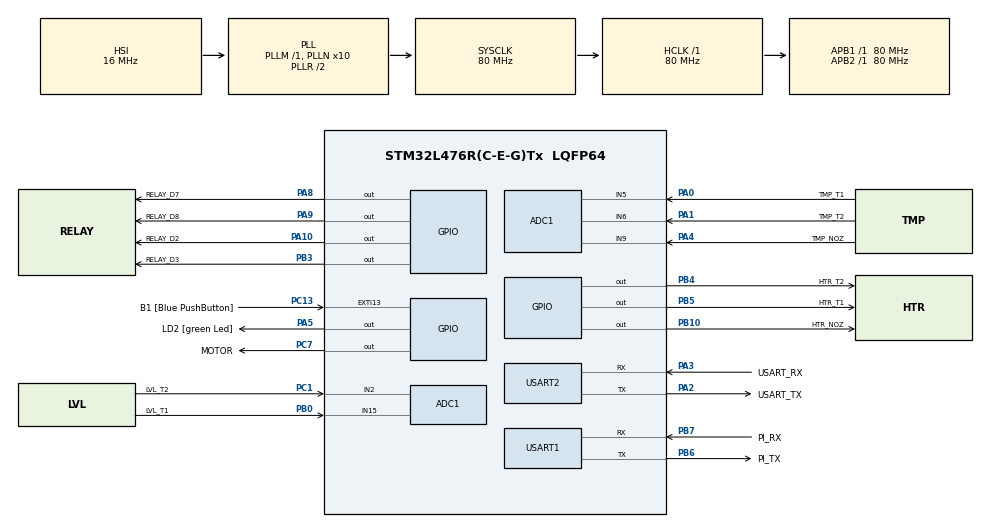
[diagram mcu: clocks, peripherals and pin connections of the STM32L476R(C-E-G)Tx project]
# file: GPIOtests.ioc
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Mcu.Family=STM32L4
Mcu.Name=STM32L476R(C-E-G)Tx
Mcu.Package=LQFP64
ADC1.Channel-0\#ChannelRegularConversion=ADC_CHANNEL_5
ADC1.Channel-1\#ChannelRegularConversion=ADC_CHANNEL_6
ADC1.Channel-2\#ChannelRegularConversion=ADC_CHANNEL_9
ADC1.Channel-3\#ChannelRegularConversion=ADC_CHANNEL_15
ADC1.Channel-4\#ChannelRegularConversion=ADC_CHANNEL_2
ADC1.ClockPrescaler=ADC_CLOCK_SYNC_PCLK_DIV4
ADC1.EOCSelection=ADC_EOC_SINGLE_CONV
ADC1.NbrOfConversion=5
ADC1.NbrOfConversionFlag=1
ADC1.OffsetNumber-0\#ChannelRegularConversion=ADC_OFFSET_NONE
ADC1.OffsetNumber-1\#ChannelRegularConversion=ADC_OFFSET_NONE
ADC1.OffsetNumber-2\#ChannelRegularConversion=ADC_OFFSET_NONE
ADC1.OffsetNumber-3\#ChannelRegularConversion=ADC_OFFSET_NONE
ADC1.OffsetNumber-4\#ChannelRegularConversion=ADC_OFFSET_NONE
ADC1.Rank-0\#ChannelRegularConversion=1
ADC1.Rank-1\#ChannelRegularConversion=2
ADC1.Rank-2\#ChannelRegularConversion=3
ADC1.Rank-3\#ChannelRegularConversion=4
ADC1.Rank-4\#ChannelRegularConversion=5
ADC1.SamplingTime-0\#ChannelRegularConversion=ADC_SAMPLETIME_640CYCLES_5
ADC1.SamplingTime-1\#ChannelRegularConversion=ADC_SAMPLETIME_640CYCLES_5
ADC1.SamplingTime-2\#ChannelRegularConversion=ADC_SAMPLETIME_640CYCLES_5
ADC1.SamplingTime-3\#ChannelRegularConversion=ADC_SAMPLETIME_640CYCLES_5
ADC1.SamplingTime-4\#ChannelRegularConversion=ADC_SAMPLETIME_640CYCLES_5
ADC1.ScanConvMode=ADC_SCAN_ENABLE
ADC1.SingleDiff-0\#ChannelRegularConversion=ADC_SINGLE_ENDED
ADC1.SingleDiff-1\#ChannelRegularConversion=ADC_SINGLE_ENDED
ADC1.SingleDiff-2\#ChannelRegularConversion=ADC_SINGLE_ENDED
ADC1.SingleDiff-3\#ChannelRegularConversion=ADC_SINGLE_ENDED
ADC1.SingleDiff-4\#ChannelRegularConversion=ADC_SINGLE_ENDED
ADC1.master=1
NVIC.PriorityGroup=NVIC_PRIORITYGROUP_4
NVIC.USART1_IRQn=true\:0\:0\:false\:false\:true\:true\:true\:true
NVIC.USART2_IRQn=true\:0\:0\:false\:false\:true\:true\:true\:true
PA13\ (JTMS-SWDIO).GPIO_Label=TMS
PA13\ (JTMS-SWDIO).Mode=Serial_Wire
PA13\ (JTMS-SWDIO).Signal=SYS_JTMS-SWDIO
PA14\ (JTCK-SWCLK).GPIO_Label=TCK
PA14\ (JTCK-SWCLK).Mode=Serial_Wire
PA14\ (JTCK-SWCLK).Signal=SYS_JTCK-SWCLK
PA2.GPIO_Label=USART_TX
PA2.GPIO_Mode=GPIO_MODE_AF_PP
PA2.GPIO_PuPd=GPIO_NOPULL
PA2.GPIO_Speed=GPIO_SPEED_FREQ_VERY_HIGH
PA2.Mode=Asynchronous
PA2.Signal=USART2_TX
PA3.GPIO_Label=USART_RX
PA3.GPIO_Mode=GPIO_MODE_AF_PP
PA3.GPIO_PuPd=GPIO_NOPULL
PA3.GPIO_Speed=GPIO_SPEED_FREQ_VERY_HIGH
PA3.Mode=Asynchronous
PA3.Signal=USART2_RX
PA8.GPIO_Label=RELAY_D7
PA8.GPIO_ModeDefaultOutputPP=GPIO_MODE_OUTPUT_PP
PA8.GPIO_PuPd=GPIO_NOPULL
PA8.GPIO_Speed=GPIO_SPEED_FREQ_LOW
PA8.Signal=GPIO_Output
PA9.GPIO_Label=RELAY_D8
PA9.GPIO_ModeDefaultOutputPP=GPIO_MODE_OUTPUT_PP
PA9.GPIO_PuPd=GPIO_NOPULL
PA9.GPIO_Speed=GPIO_SPEED_FREQ_LOW
PA9.Signal=GPIO_Output
PA0.GPIO_Label=TMP_T1
PA0.Mode=IN5-Single-Ended
PA0.Signal=ADC1_IN5
PA1.GPIO_Label=TMP_T2
PA1.Mode=IN6-Single-Ended
PA1.Signal=ADC1_IN6
PA4.GPIO_Label=TMP_NOZ
PA4.Mode=IN9-Single-Ended
PA4.Signal=ADC1_IN9
PA10.GPIO_Label=RELAY_D2
PA10.GPIO_ModeDefaultOutputPP=GPIO_MODE_OUTPUT_PP
PA10.GPIO_PuPd=GPIO_NOPULL
PA10.GPIO_Speed=GPIO_SPEED_FREQ_LOW
PA10.Signal=GPIO_Output
PB0.GPIO_Label=LVL_T1
PB0.Mode=IN15-Single-Ended
PB0.Signal=ADC1_IN15
PC1.GPIO_Label=LVL_T2
PC1.Mode=IN2-Single-Ended
PC1.Signal=ADC1_IN2
PB5.GPIO_Label=HTR_T1
PB5.GPIO_ModeDefaultOutputPP=GPIO_MODE_OUTPUT_PP
PB5.GPIO_PuPd=GPIO_NOPULL
PB5.GPIO_Speed=GPIO_SPEED_FREQ_LOW
PB5.Signal=GPIO_Output
PB4.GPIO_Label=HTR_T2
PB4.GPIO_ModeDefaultOutputPP=GPIO_MODE_OUTPUT_PP
PB4.GPIO_PuPd=GPIO_NOPULL
PB4.GPIO_Speed=GPIO_SPEED_FREQ_LOW
PB4.Signal=GPIO_Output
PB10.GPIO_Label=HTR_NOZ
PB10.GPIO_ModeDefaultOutputPP=GPIO_MODE_OUTPUT_PP
PB10.GPIO_PuPd=GPIO_NOPULL
PB10.GPIO_Speed=GPIO_SPEED_FREQ_LOW
PB10.Signal=GPIO_Output
PB6.GPIO_Label=PI_TX
PB6.Mode=Asynchronous
PB6.Signal=USART1_TX
PB7.GPIO_Label=PI_RX
PB7.Mode=Asynchronous
PB7.Signal=USART1_RX
PC7.GPIO_Label=MOTOR
PC7.GPIO_ModeDefaultOutputPP=GPIO_MODE_OUTPUT_PP
PC7.GPIO_PuPd=GPIO_NOPULL
PC7.GPIO_Speed=GPIO_SPEED_FREQ_LOW
PC7.Signal=GPIO_Output
PB3.GPIO_Label=RELAY_D3
PB3.GPIO_ModeDefaultOutputPP=GPIO_MODE_OUTPUT_PP
PB3.GPIO_PuPd=GPIO_NOPULL
PB3.GPIO_Speed=GPIO_SPEED_FREQ_LOW
PB3.Signal=GPIO_Output
PA5.GPIO_Label=LD2 [green Led]
PA5.GPIO_ModeDefaultOutputPP=GPIO_MODE_OUTPUT_PP
PA5.GPIO_PuPd=GPIO_NOPULL
PA5.GPIO_Speed=GPIO_SPEED_FREQ_LOW
PA5.Signal=GPIO_Output
PC13.GPIO_Label=B1 [Blue PushButton]
PC13.GPIO_ModeDefaultEXTI=GPIO_MODE_IT_FALLING
PC13.GPIO_PuPd=GPIO_NOPULL
PC13.Signal=GPXTI13
PC14-OSC32_IN\ (PC14).Mode=LSE-External-Oscillator
PC14-OSC32_IN\ (PC14).Signal=RCC_OSC32_IN
PC15-OSC32_OUT\ (PC15).Mode=LSE-External-Oscillator
PC15-OSC32_OUT\ (PC15).Signal=RCC_OSC32_OUT
PH0-OSC_IN\ (PH0).Signal=RCC_OSC_IN
PH1-OSC_OUT\ (PH1).Signal=RCC_OSC_OUT
ProjectManager.HeapSize=0x200
ProjectManager.StackSize=0x400
ProjectManager.TargetToolchain=STM32CubeIDE
RCC.ADCFreq_Value=64000000
RCC.AHBFreq_Value=80000000
RCC.APB1Freq_Value=80000000
RCC.APB1TimFreq_Value=80000000
RCC.APB2Freq_Value=80000000
RCC.APB2TimFreq_Value=80000000
RCC.CortexFreq_Value=80000000
RCC.HCLKFreq_Value=80000000
RCC.HSE_VALUE=8000000
RCC.HSI_VALUE=16000000
RCC.MSI_VALUE=4000000
RCC.PLLN=10
RCC.PLLSourceVirtual=RCC_PLLSOURCE_HSI
RCC.PREFETCH_ENABLE=1
RCC.SYSCLKFreq_VALUE=80000000
RCC.SYSCLKSource=RCC_SYSCLKSOURCE_PLLCLK
RCC.USBFreq_Value=64000000
RCC.VCOOutputFreq_Value=160000000
USART1.VirtualMode-Asynchronous=VM_ASYNC
USART2.VirtualMode-Asynchronous=VM_ASYNC
board=NUCLEO-L476RG

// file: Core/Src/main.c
/* USER CODE BEGIN Header */
/**
  ******************************************************************************
  * @file           : main.c
  * @brief          : Main program body
  ******************************************************************************
  * @attention
  *
  * Copyright (c) 2026 STMicroelectronics.
  * All rights reserved.
  *
  * This software is licensed under terms that can be found in the LICENSE file
  * in the root directory of this software component.
  * If no LICENSE file comes with this software, it is provided AS-IS.
  *
  ******************************************************************************
  */
/* USER CODE END Header */
#include "main.h"

/* USER CODE BEGIN Includes */
#include <stdio.h>
#include <stdarg.h>
#include <string.h>
#include <ctype.h>
#include <math.h>
/* USER CODE END Includes */

/* USER CODE BEGIN PD */
#define ADC_MAX        4095.0f
#define R_FIXED        10000.0f   /* temp divider resistor to GND (ohm) */
#define NTC_R25        10000.0f   /* NTC3950 nominal at 25 C */
#define NTC_BETA       3950.0f
#define NTC_T25_K      298.15f
#define N_SAMPLES      16
#define N_CH           5          /* T1, T2, NOZ, LVL1, LVL2 (ADC rank order) */
#define LVL_R_FIXED    100.0f     /* level divider resistor to GND (ohm) */
#define LVL_R_EMPTY    240.0f     /* American/SAE sender: 240 ohm = empty */
#define LVL_R_FULL     33.0f      /*                       33 ohm  = full  */

#define REFRESH_MS     250        /* console redraw period */
#define RX_BUF         32         /* max command length */
#define FRAME_SZ       2048       /* one-shot console frame buffer */
#define EOL            "\x1b[K\r\n"  /* clear to end of line, then newline */

/* Commanded output state is saved here so it survives a reset / power cycle.
 * Last 2K page of bank 2 - kept out of the FLASH region in STM32L476RGTX_FLASH.ld. */
#define STATE_ADDR     0x080FF800UL
#define STATE_BANK     FLASH_BANK_2
#define STATE_PAGE     255
#define STATE_MAGIC    0x57564F00UL  /* "WVO\0" in the upper word, output bits in the lower */

/* USER CODE END PD */

ADC_HandleTypeDef hadc1;

UART_HandleTypeDef huart1;
UART_HandleTypeDef huart2;

/* USER CODE BEGIN PV */
static uint32_t adc_raw[N_CH]; /* T1 A0/PA0, T2 A1/PA1, NOZ A2/PA4, LVL1 A3/PB0, LVL2 A4/PC1 */

/* Serial command input from the RPi (filled by the USART1 RX interrupt) */
static uint8_t rx_byte;
static char rx_buf[RX_BUF];
static volatile uint8_t rx_len;
static char cmd_line[RX_BUF];
static volatile uint8_t cmd_ready;
static volatile uint8_t ui_dirty = 1;
static char last_msg[64] = "Ready. Type a command, e.g. t1";

/* Console frame is built in one buffer and sent in one transmit (no flicker) */
static char frame[FRAME_SZ];
static size_t fpos;

/* Outputs. on_level = pin level that turns the device ON.
 * Relay boards assumed active-HIGH; change to GPIO_PIN_RESET if yours are active-LOW.
 * name == NULL: no command, the output is forced ON at boot (tank heaters). */
typedef struct {
  const char    *name;      /* serial command name */
  const char    *label;     /* shown on the console */
  const char    *help;      /* what the command does */
  GPIO_TypeDef  *port;
  uint16_t       pin;
  GPIO_PinState  on_level;
} Output_t;

static const Output_t outputs[] = {
  { "t1",  "Tank 1 valves", "toggle Tank 1 valves (upper + lower)", RELAY_D2_GPIO_Port, RELAY_D2_Pin, GPIO_PIN_SET },
  { "t2",  "Tank 2 valves", "toggle Tank 2 valves (upper + lower)", RELAY_D3_GPIO_Port, RELAY_D3_Pin, GPIO_PIN_SET },
  { "htr", "Nozzle heater", "toggle nozzle heater",                 HTR_NOZ_GPIO_Port,  HTR_NOZ_Pin,  GPIO_PIN_SET },
  { "cent","Centrifuge",    "toggle centrifuge motor",              MOTOR_GPIO_Port,    MOTOR_Pin,    GPIO_PIN_SET },
  { NULL,  "Tank 1 heater", NULL,                                   HTR_T1_GPIO_Port,   HTR_T1_Pin,   GPIO_PIN_SET },
  { NULL,  "Tank 2 heater", NULL,                                   HTR_T2_GPIO_Port,   HTR_T2_Pin,   GPIO_PIN_SET },
};
#define N_OUT (sizeof(outputs) / sizeof(outputs[0]))

/* USER CODE END PV */

void SystemClock_Config(void);
static void MX_GPIO_Init(void);
static void MX_USART2_UART_Init(void);
static void MX_ADC1_Init(void);
static void MX_USART1_UART_Init(void);

/* USER CODE BEGIN 0 */

/* Route printf to USART2 (ST-LINK virtual COM port) - debug only, the console is on USART1 */
int __io_putchar(int ch)
{
  uint8_t c = (uint8_t)ch;
  HAL_UART_Transmit(&huart2, &c, 1, HAL_MAX_DELAY);
  return ch;
}

static void set_output(size_t i, int on)
{
  GPIO_PinState off_level = (outputs[i].on_level == GPIO_PIN_SET) ? GPIO_PIN_RESET : GPIO_PIN_SET;
  HAL_GPIO_WritePin(outputs[i].port, outputs[i].pin, on ? outputs[i].on_level : off_level);
}

static int output_is_on(size_t i)
{
  /* ReadPin reads IDR, which reflects the driven level of an output pin */
  return HAL_GPIO_ReadPin(outputs[i].port, outputs[i].pin) == outputs[i].on_level;
}

/* Bit i set = commandable output i is ON */
static uint32_t command_bits(void)
{
  uint32_t bits = 0;
  for (size_t i = 0; i < N_OUT; i++)
  {
    if (outputs[i].name != NULL && output_is_on(i)) bits |= 1UL << i;
  }
  return bits;
}

/* Restore commanded outputs from flash. Erased/unknown record = all OFF. */
static void load_state(void)
{
  uint64_t rec = *(volatile const uint64_t *)STATE_ADDR;
  if ((uint32_t)(rec >> 32) != STATE_MAGIC) return;
  for (size_t i = 0; i < N_OUT; i++)
  {
    if (outputs[i].name != NULL) set_output(i, (int)((rec >> i) & 1U));
  }
}

/* Write the commanded state to flash (only if it changed). Returns 0 on success. */
static int save_state(void)
{
  uint64_t rec = ((uint64_t)STATE_MAGIC << 32) | command_bits();
  if (*(volatile const uint64_t *)STATE_ADDR == rec) return 0;

  FLASH_EraseInitTypeDef erase = {
    .TypeErase = FLASH_TYPEERASE_PAGES,
    .Banks     = STATE_BANK,
    .Page      = STATE_PAGE,
    .NbPages   = 1,
  };
  uint32_t bad_page;
  HAL_StatusTypeDef st;

  HAL_FLASH_Unlock();
  __HAL_FLASH_CLEAR_FLAG(FLASH_FLAG_ALL_ERRORS);     /* stale flags (e.g. PGSERR) block programming */
  st = HAL_FLASHEx_Erase(&erase, &bad_page);
  if (st == HAL_OK) st = HAL_FLASH_Program(FLASH_TYPEPROGRAM_DOUBLEWORD, STATE_ADDR, rec);
  HAL_FLASH_Lock();
  return (st == HAL_OK) ? 0 : -1;
}

/* Average N_SAMPLES scans of the N_CH channels (order = ADC rank order) */
static void read_channels(uint32_t out[N_CH])
{
  uint32_t sum[N_CH] = {0};
  for (int n = 0; n < N_SAMPLES; n++)
  {
    for (int ch = 0; ch < N_CH; ch++)
    {
      HAL_ADC_Start(&hadc1);
      HAL_ADC_PollForConversion(&hadc1, 10);
      sum[ch] += HAL_ADC_GetValue(&hadc1);
    }
    HAL_ADC_Stop(&hadc1);
  }
  for (int ch = 0; ch < N_CH; ch++) out[ch] = sum[ch] / N_SAMPLES;
}

/* Append formatted text to the console frame */
static void emit(const char *fmt, ...)
{
  if (fpos >= FRAME_SZ - 1) return;
  va_list ap;
  va_start(ap, fmt);
  int n = vsnprintf(frame + fpos, FRAME_SZ - fpos, fmt, ap);
  va_end(ap);
  if (n > 0) fpos += (size_t)n;
  if (fpos > FRAME_SZ - 1) fpos = FRAME_SZ - 1;
}

/* "-12.3" style tenths without needing printf float support */
static void tenths(char *dst, size_t n, int32_t t10)
{
  int32_t a = (t10 < 0) ? -t10 : t10;
  snprintf(dst, n, "%s%ld.%ld", (t10 < 0) ? "-" : "", (long)(a / 10), (long)(a % 10));
}

/* Temp divider: 3.3V -> NTC -> node(ADC) -> 10k -> GND
 * R_ntc = R_FIXED*(4095-raw)/raw, then Beta equation. */
static void emit_temp(const char *label, uint32_t raw)
{
  if (raw < 10)   { emit("   %-13s: OPEN (no sensor?)" EOL, label); return; }
  if (raw > 4085) { emit("   %-13s: SHORT" EOL, label);             return; }

  float r_ntc = R_FIXED * (ADC_MAX - (float)raw) / (float)raw;
  float t_k   = 1.0f / (1.0f / NTC_T25_K + logf(r_ntc / NTC_R25) / NTC_BETA);
  float t_c   = t_k - 273.15f;
  float t_f   = t_c * 9.0f / 5.0f + 32.0f;
  char cs[12], fs[12];
  tenths(cs, sizeof cs, (int32_t)(t_c * 10.0f + (t_c >= 0 ? 0.5f : -0.5f)));
  tenths(fs, sizeof fs, (int32_t)(t_f * 10.0f + (t_f >= 0 ? 0.5f : -0.5f)));
  emit("   %-13s: %6s F   %6s C" EOL, label, fs, cs);
}

/* Level divider: 3.3V -> sender -> node(ADC) -> 100 ohm -> GND
 * Fill % assumes resistance linear with float position (UNVERIFIED - see notes.txt). */
static void emit_level(const char *label, uint32_t raw)
{
  if (raw < 10)   { emit("   %-13s: OPEN (no sender?)" EOL, label); return; }
  if (raw > 4085) { emit("   %-13s: SHORT" EOL, label);             return; }

  float r_s  = LVL_R_FIXED * (ADC_MAX - (float)raw) / (float)raw;
  float fill = (LVL_R_EMPTY - r_s) / (LVL_R_EMPTY - LVL_R_FULL) * 100.0f;
  char fs[12];
  tenths(fs, sizeof fs, (int32_t)(fill * 10.0f + (fill >= 0 ? 0.5f : -0.5f)));
  emit("   %-13s: %6s %%   (%lu ohm)" EOL, label, fs, (unsigned long)r_s);
}

static void render_ui(void)
{
  uint32_t up = HAL_GetTick() / 1000;
  fpos = 0;
  emit("\x1b[H");                                   /* cursor home (no full clear = no flicker) */
  emit(" WVO/WMO REFINERY CONSOLE        uptime %02lu:%02lu:%02lu" EOL,
       (unsigned long)(up / 3600), (unsigned long)((up / 60) % 60), (unsigned long)(up % 60));
  emit(" ------------------------------------------------" EOL);
  emit(" TEMPERATURES" EOL);
  emit_temp("Tank 1  (A0)", adc_raw[0]);
  emit_temp("Tank 2  (A1)", adc_raw[1]);
  emit_temp("Nozzle  (A2)", adc_raw[2]);
  emit(EOL);
  emit(" TANK LEVELS" EOL);
  emit_level("Tank 1  (A3)", adc_raw[3]);
  emit_level("Tank 2  (A4)", adc_raw[4]);
  emit(EOL);
  emit(" OUTPUTS" EOL);
  for (size_t i = 0; i < N_OUT; i++)
  {
    emit("   %-13s: %s   %s" EOL, outputs[i].label, output_is_on(i) ? "ON " : "OFF",
         outputs[i].name ? "" : "(always on)");
  }
  emit(EOL);
  emit(" COMMANDS  (type, then Enter)" EOL);
  for (size_t i = 0; i < N_OUT; i++)
  {
    if (outputs[i].name != NULL) emit("   %-5s %s" EOL, outputs[i].name, outputs[i].help);
  }
  emit("   add 'on' or 'off' to force a state, e.g. 't1 off'" EOL);
  emit("   settings are saved; USB can be unplugged after" EOL);
  emit(" ------------------------------------------------" EOL);
  emit(" %s" EOL, last_msg);
  emit(" > %.*s\x1b[K\x1b[J", (int)rx_len, rx_buf);  /* prompt + typed text, clear the rest */
  HAL_UART_Transmit(&huart1, (uint8_t *)frame, (uint16_t)fpos, HAL_MAX_DELAY);
}

/* "<name>" toggles, "<name> on|off" forces; case-insensitive */
static void handle_command(char *line)
{
  for (char *p = line; *p; p++) *p = (char)tolower((unsigned char)*p);
  char *name  = strtok(line, " \t");
  char *arg   = strtok(NULL, " \t");
  char *extra = strtok(NULL, " \t");
  if (name == NULL) return;

  for (size_t i = 0; i < N_OUT; i++)
  {
    if (outputs[i].name == NULL || strcmp(name, outputs[i].name) != 0) continue;

    int on;
    if (arg == NULL)                                  on = !output_is_on(i);
    else if (extra == NULL && strcmp(arg, "on") == 0)  on = 1;
    else if (extra == NULL && strcmp(arg, "off") == 0) on = 0;
    else
    {
      snprintf(last_msg, sizeof last_msg, "ERR: use '%s', '%s on' or '%s off'",
               outputs[i].name, outputs[i].name, outputs[i].name);
      return;
    }
    set_output(i, on);
    snprintf(last_msg, sizeof last_msg, "OK: %s %s%s", outputs[i].label, on ? "ON" : "OFF",
             save_state() == 0 ? "" : "  (WARNING: not saved to flash)");
    return;
  }
  snprintf(last_msg, sizeof last_msg, "ERR: unknown '%.20s' (commands: t1 t2 htr cent)", name);
}
/* USER CODE END 0 */

int main(void)
{

  /* MCU Configuration--------------------------------------------------------*/

  /* Reset of all peripherals, Initializes the Flash interface and the Systick. */
  HAL_Init();

  /* Configure the system clock */
  SystemClock_Config();

  /* Initialize all configured peripherals */
  MX_GPIO_Init();
  MX_USART2_UART_Init();
  MX_ADC1_Init();
  MX_USART1_UART_Init();
  /* USER CODE BEGIN 2 */
  /* Tank heaters always ON; commanded outputs OFF, then restored from the last saved state */
  for (size_t i = 0; i < N_OUT; i++)
  {
    set_output(i, outputs[i].name == NULL);
  }
  load_state();
  if (HAL_ADCEx_Calibration_Start(&hadc1, ADC_SINGLE_ENDED) != HAL_OK)
  {
    Error_Handler();
  }
  HAL_UART_Receive_IT(&huart1, &rx_byte, 1);         /* start interrupt-driven command input (RPi) */
  {
    static const char clr[] = "\x1b[2J\x1b[H";       /* clear screen once */
    HAL_UART_Transmit(&huart1, (uint8_t *)clr, sizeof clr - 1, HAL_MAX_DELAY);
  }
  uint32_t last_ui = 0;

  /* USER CODE END 2 */

  /* Infinite loop */
  while (1)
  {

    /* USER CODE BEGIN 3 */
    if (cmd_ready)
    {
      char line[RX_BUF];
      __disable_irq();
      memcpy(line, cmd_line, RX_BUF);
      cmd_ready = 0;
      __enable_irq();
      handle_command(line);
      ui_dirty = 1;
    }
    if (ui_dirty || (HAL_GetTick() - last_ui) >= REFRESH_MS)
    {
      ui_dirty = 0;
      last_ui = HAL_GetTick();
      read_channels(adc_raw);
      render_ui();
    }
  }
  /* USER CODE END 3 */
}

void SystemClock_Config(void)
{
  RCC_OscInitTypeDef RCC_OscInitStruct = {0};
  RCC_ClkInitTypeDef RCC_ClkInitStruct = {0};

  /** Configure the main internal regulator output voltage
  */
  if (HAL_PWREx_ControlVoltageScaling(PWR_REGULATOR_VOLTAGE_SCALE1) != HAL_OK)
  {
    Error_Handler();
  }

  /** Initializes the RCC Oscillators according to the specified parameters
  * in the RCC_OscInitTypeDef structure.
  */
  RCC_OscInitStruct.OscillatorType = RCC_OSCILLATORTYPE_HSI;
  RCC_OscInitStruct.HSIState = RCC_HSI_ON;
  RCC_OscInitStruct.HSICalibrationValue = RCC_HSICALIBRATION_DEFAULT;
  RCC_OscInitStruct.PLL.PLLState = RCC_PLL_ON;
  RCC_OscInitStruct.PLL.PLLSource = RCC_PLLSOURCE_HSI;
  RCC_OscInitStruct.PLL.PLLM = 1;
  RCC_OscInitStruct.PLL.PLLN = 10;
  RCC_OscInitStruct.PLL.PLLP = RCC_PLLP_DIV7;
  RCC_OscInitStruct.PLL.PLLQ = RCC_PLLQ_DIV2;
  RCC_OscInitStruct.PLL.PLLR = RCC_PLLR_DIV2;
  if (HAL_RCC_OscConfig(&RCC_OscInitStruct) != HAL_OK)
  {
    Error_Handler();
  }

  /** Initializes the CPU, AHB and APB buses clocks
  */
  RCC_ClkInitStruct.ClockType = RCC_CLOCKTYPE_HCLK|RCC_CLOCKTYPE_SYSCLK
                              |RCC_CLOCKTYPE_PCLK1|RCC_CLOCKTYPE_PCLK2;
  RCC_ClkInitStruct.SYSCLKSource = RCC_SYSCLKSOURCE_PLLCLK;
  RCC_ClkInitStruct.AHBCLKDivider = RCC_SYSCLK_DIV1;
  RCC_ClkInitStruct.APB1CLKDivider = RCC_HCLK_DIV1;
  RCC_ClkInitStruct.APB2CLKDivider = RCC_HCLK_DIV1;

  if (HAL_RCC_ClockConfig(&RCC_ClkInitStruct, FLASH_LATENCY_4) != HAL_OK)
  {
    Error_Handler();
  }
}

static void MX_ADC1_Init(void)
{

  ADC_ChannelConfTypeDef sConfig = {0};

  /** Common config
  */
  hadc1.Instance = ADC1;
  hadc1.Init.ClockPrescaler = ADC_CLOCK_SYNC_PCLK_DIV4;
  hadc1.Init.Resolution = ADC_RESOLUTION_12B;
  hadc1.Init.DataAlign = ADC_DATAALIGN_RIGHT;
  hadc1.Init.ScanConvMode = ADC_SCAN_ENABLE;
  hadc1.Init.EOCSelection = ADC_EOC_SINGLE_CONV;
  hadc1.Init.LowPowerAutoWait = DISABLE;
  hadc1.Init.ContinuousConvMode = DISABLE;
  hadc1.Init.NbrOfConversion = 5;
  hadc1.Init.DiscontinuousConvMode = DISABLE;
  hadc1.Init.ExternalTrigConv = ADC_SOFTWARE_START;
  hadc1.Init.ExternalTrigConvEdge = ADC_EXTERNALTRIGCONVEDGE_NONE;
  hadc1.Init.DMAContinuousRequests = DISABLE;
  hadc1.Init.Overrun = ADC_OVR_DATA_PRESERVED;
  hadc1.Init.OversamplingMode = DISABLE;
  if (HAL_ADC_Init(&hadc1) != HAL_OK)
  {
    Error_Handler();
  }

  /** Configure Regular Channel
  */
  sConfig.Channel = ADC_CHANNEL_5;
  sConfig.Rank = ADC_REGULAR_RANK_1;
  sConfig.SamplingTime = ADC_SAMPLETIME_640CYCLES_5;
  sConfig.SingleDiff = ADC_SINGLE_ENDED;
  sConfig.OffsetNumber = ADC_OFFSET_NONE;
  sConfig.Offset = 0;
  if (HAL_ADC_ConfigChannel(&hadc1, &sConfig) != HAL_OK)
  {
    Error_Handler();
  }

  /** Configure Regular Channel
  */
  sConfig.Channel = ADC_CHANNEL_6;
  sConfig.Rank = ADC_REGULAR_RANK_2;
  if (HAL_ADC_ConfigChannel(&hadc1, &sConfig) != HAL_OK)
  {
    Error_Handler();
  }

  /** Configure Regular Channel
  */
  sConfig.Channel = ADC_CHANNEL_9;
  sConfig.Rank = ADC_REGULAR_RANK_3;
  if (HAL_ADC_ConfigChannel(&hadc1, &sConfig) != HAL_OK)
  {
    Error_Handler();
  }

  /** Configure Regular Channel
  */
  sConfig.Channel = ADC_CHANNEL_15;
  sConfig.Rank = ADC_REGULAR_RANK_4;
  if (HAL_ADC_ConfigChannel(&hadc1, &sConfig) != HAL_OK)
  {
    Error_Handler();
  }

  /** Configure Regular Channel
  */
  sConfig.Channel = ADC_CHANNEL_2;
  sConfig.Rank = ADC_REGULAR_RANK_5;
  if (HAL_ADC_ConfigChannel(&hadc1, &sConfig) != HAL_OK)
  {
    Error_Handler();
  }

}

static void MX_USART1_UART_Init(void)
{

  huart1.Instance = USART1;
  huart1.Init.BaudRate = 115200;
  huart1.Init.WordLength = UART_WORDLENGTH_8B;
  huart1.Init.StopBits = UART_STOPBITS_1;
  huart1.Init.Parity = UART_PARITY_NONE;
  huart1.Init.Mode = UART_MODE_TX_RX;
  huart1.Init.HwFlowCtl = UART_HWCONTROL_NONE;
  huart1.Init.OverSampling = UART_OVERSAMPLING_16;
  huart1.Init.OneBitSampling = UART_ONE_BIT_SAMPLE_DISABLE;
  huart1.AdvancedInit.AdvFeatureInit = UART_ADVFEATURE_NO_INIT;
  if (HAL_UART_Init(&huart1) != HAL_OK)
  {
    Error_Handler();
  }

}

static void MX_USART2_UART_Init(void)
{

  huart2.Instance = USART2;
  huart2.Init.BaudRate = 115200;
  huart2.Init.WordLength = UART_WORDLENGTH_8B;
  huart2.Init.StopBits = UART_STOPBITS_1;
  huart2.Init.Parity = UART_PARITY_NONE;
  huart2.Init.Mode = UART_MODE_TX_RX;
  huart2.Init.HwFlowCtl = UART_HWCONTROL_NONE;
  huart2.Init.OverSampling = UART_OVERSAMPLING_16;
  huart2.Init.OneBitSampling = UART_ONE_BIT_SAMPLE_DISABLE;
  huart2.AdvancedInit.AdvFeatureInit = UART_ADVFEATURE_NO_INIT;
  if (HAL_UART_Init(&huart2) != HAL_OK)
  {
    Error_Handler();
  }

}

static void MX_GPIO_Init(void)
{
  GPIO_InitTypeDef GPIO_InitStruct = {0};

  /* GPIO Ports Clock Enable */
  __HAL_RCC_GPIOC_CLK_ENABLE();
  __HAL_RCC_GPIOH_CLK_ENABLE();
  __HAL_RCC_GPIOA_CLK_ENABLE();
  __HAL_RCC_GPIOB_CLK_ENABLE();

  /*Configure GPIO pin Output Level */
  HAL_GPIO_WritePin(GPIOA, LD2_Pin|RELAY_D7_Pin|RELAY_D8_Pin|RELAY_D2_Pin, GPIO_PIN_RESET);

  /*Configure GPIO pin Output Level */
  HAL_GPIO_WritePin(GPIOB, RELAY_D3_Pin|HTR_T1_Pin|HTR_T2_Pin|HTR_NOZ_Pin, GPIO_PIN_RESET);

  /*Configure GPIO pin Output Level */
  HAL_GPIO_WritePin(MOTOR_GPIO_Port, MOTOR_Pin, GPIO_PIN_RESET);

  /*Configure GPIO pin : B1_Pin */
  GPIO_InitStruct.Pin = B1_Pin;
  GPIO_InitStruct.Mode = GPIO_MODE_IT_FALLING;
  GPIO_InitStruct.Pull = GPIO_NOPULL;
  HAL_GPIO_Init(B1_GPIO_Port, &GPIO_InitStruct);

  /*Configure GPIO pins : LD2_Pin RELAY_D7_Pin RELAY_D8_Pin RELAY_D2_Pin */
  GPIO_InitStruct.Pin = LD2_Pin|RELAY_D7_Pin|RELAY_D8_Pin|RELAY_D2_Pin;
  GPIO_InitStruct.Mode = GPIO_MODE_OUTPUT_PP;
  GPIO_InitStruct.Pull = GPIO_NOPULL;
  GPIO_InitStruct.Speed = GPIO_SPEED_FREQ_LOW;
  HAL_GPIO_Init(LD2_GPIO_Port, &GPIO_InitStruct);

  /*Configure GPIO pins : RELAY_D3_Pin HTR_T1_Pin HTR_T2_Pin HTR_NOZ_Pin */
  GPIO_InitStruct.Pin = RELAY_D3_Pin|HTR_T1_Pin|HTR_T2_Pin|HTR_NOZ_Pin;
  GPIO_InitStruct.Mode = GPIO_MODE_OUTPUT_PP;
  GPIO_InitStruct.Pull = GPIO_NOPULL;
  GPIO_InitStruct.Speed = GPIO_SPEED_FREQ_LOW;
  HAL_GPIO_Init(GPIOB, &GPIO_InitStruct);

  /*Configure GPIO pin : MOTOR_Pin */
  GPIO_InitStruct.Pin = MOTOR_Pin;
  GPIO_InitStruct.Mode = GPIO_MODE_OUTPUT_PP;
  GPIO_InitStruct.Pull = GPIO_NOPULL;
  GPIO_InitStruct.Speed = GPIO_SPEED_FREQ_LOW;
  HAL_GPIO_Init(MOTOR_GPIO_Port, &GPIO_InitStruct);

}

/* USER CODE BEGIN 4 */

/* USART1 RX interrupt: build a command line one character at a time */
void HAL_UART_RxCpltCallback(UART_HandleTypeDef *huart)
{
  if (huart->Instance == USART1)
  {
    char c = (char)rx_byte;
    if (c == '\r' || c == '\n')
    {
      if (rx_len > 0)
      {
        rx_buf[rx_len] = '\0';
        memcpy(cmd_line, rx_buf, (size_t)rx_len + 1);
        cmd_ready = 1;
        rx_len = 0;
      }
    }
    else if (c == 0x08 || c == 0x7F)                 /* backspace / delete */
    {
      if (rx_len > 0) rx_len--;
    }
    else if (c >= ' ' && rx_len < RX_BUF - 1)
    {
      rx_buf[rx_len++] = c;
    }
    ui_dirty = 1;
    HAL_UART_Receive_IT(huart, &rx_byte, 1);         /* re-arm for the next character */
  }
}

/* On any UART error (e.g. overrun) keep listening */
void HAL_UART_ErrorCallback(UART_HandleTypeDef *huart)
{
  if (huart->Instance == USART1)
  {
    HAL_UART_Receive_IT(huart, &rx_byte, 1);
  }
}
/* USER CODE END 4 */

void Error_Handler(void)
{
  __disable_irq();
  while (1)
  {
  }
}
